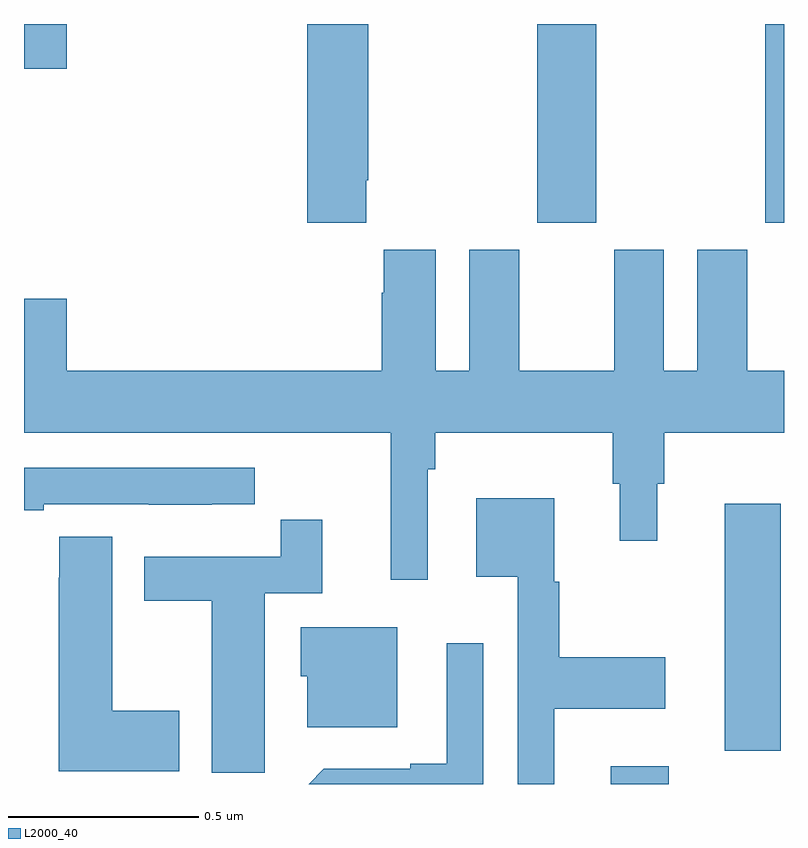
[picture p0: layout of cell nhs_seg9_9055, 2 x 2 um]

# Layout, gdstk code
import gdstk
lib = gdstk.Library(unit=1e-6, precision=1e-09)
def R(c, l, rs):  # rectangles x0, y0, x1, y1
    for r in rs: c.add(gdstk.rectangle(r[:2], r[2:], *l))
def P(c, l, *ps):  # polygons
    for p in ps: c.add(gdstk.Polygon(p, *l))
L2000_40 = (2000, 40)

nhs_seg9_9055 = lib.new_cell('nhs_seg9_9055')
R(nhs_seg9_9055, L2000_40, [(226.544,1191.5,226.697,1191.547), (226.844,1191.588,226.991,1192.237), (226.351,1192.977,226.506,1193.5), (226.951,1192.977,227,1193.5), (225,1193.382,225.112,1193.5)])
P(nhs_seg9_9055, L2000_40, [(225.901,1193.089),(225.906,1193.089),(225.906,1193.5),(225.746,1193.5),(225.746,1192.977),(225.901,1192.977)],
  [(226.549,1192.29),(226.568,1192.29),(226.568,1192.14),(226.666,1192.14),(226.666,1192.29),(226.685,1192.29),(226.685,1192.424),(227,1192.424),(227,1192.588),(226.903,1192.588),(226.903,1192.906),(226.772,1192.906),(226.772,1192.588),(226.684,1192.588),(226.684,1192.906),(226.553,1192.906),(226.553,1192.588),(226.303,1192.588),(226.303,1192.906),(226.172,1192.906),(226.172,1192.588),(226.084,1192.588),(226.084,1192.906),(225.947,1192.906),(225.947,1192.793),(225.941,1192.793),(225.941,1192.588),(225.112,1192.588),(225.112,1192.777),(225,1192.777),(225,1192.424),(225.965,1192.424),(225.965,1192.038),(226.062,1192.038),(226.062,1192.328),(226.082,1192.328),(226.082,1192.424),(226.549,1192.424)],
  [(225.052,1192.236),(225.328,1192.236),(225.328,1192.235),(225.494,1192.235),(225.494,1192.236),(225.607,1192.236),(225.607,1192.332),(225,1192.332),(225,1192.221),(225.052,1192.221)],
  [(226.396,1191.698),(226.687,1191.698),(226.687,1191.833),(226.408,1191.833),(226.408,1192.032),(226.396,1192.032),(226.396,1192.252),(226.19,1192.252),(226.19,1192.046),(226.299,1192.046),(226.299,1191.5),(226.396,1191.5)],
  [(225.633,1191.64),(225.634,1191.64),(225.634,1192.002),(225.785,1192.002),(225.785,1192.195),(225.676,1192.195),(225.676,1192.098),(225.317,1192.098),(225.317,1191.982),(225.494,1191.982),(225.494,1191.529),(225.633,1191.529)],
  [(225.409,1191.693),(225.232,1191.693),(225.232,1192.151),(225.093,1192.151),(225.093,1192.043),(225.092,1192.043),(225.092,1191.533),(225.409,1191.533)],
  [(225.982,1191.913),(225.728,1191.913),(225.728,1191.783),(225.746,1191.783),(225.746,1191.65),(225.982,1191.65)],
  [(226.209,1191.871),(226.112,1191.871),(226.112,1191.553),(226.016,1191.553),(226.016,1191.54),(225.789,1191.54),(225.749,1191.5),(226.209,1191.5)])

lib.write_gds('nhs_seg9_9055.gds')
